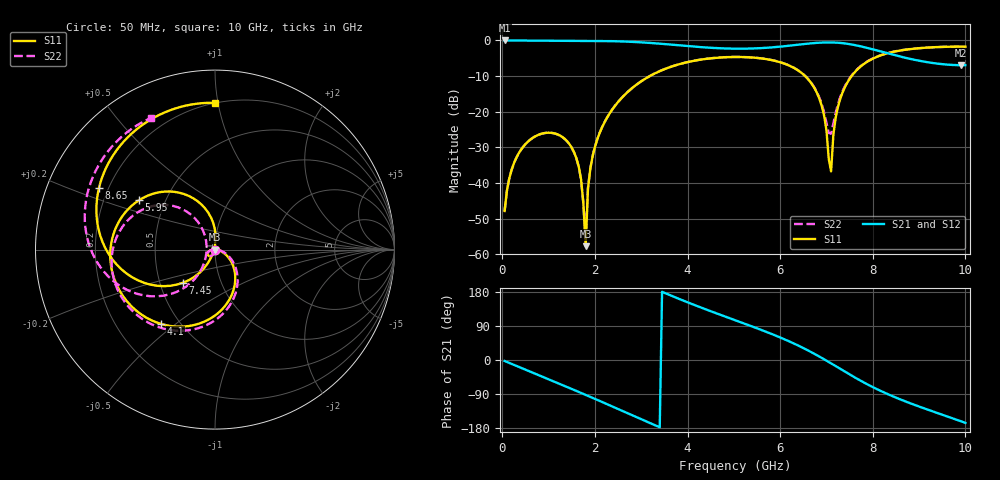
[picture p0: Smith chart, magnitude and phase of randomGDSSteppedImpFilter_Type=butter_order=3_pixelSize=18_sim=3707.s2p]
! freq	dB(S11)	phase(S11)	dB(S12)	phase(S12)
!  dB(S21)	phase(S21)	dB(S22)	phase(S22)
!S-par simulation data
#  GHz  S  DB  R 50
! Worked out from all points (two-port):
!   200 points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, 50 MHz to 10 GHz, reference 50 ohm
!   highest |S21| = 0.00 dB at 50 MHz (marker M1); lowest = -6.9 dB at 9.9 GHz (marker M2)
!   |S21| within 3 dB of the highest: start of sweep to 8.145 GHz
!   lowest |S11| = -57.8 dB at 1.8 GHz (marker M3), VSWR 1.00, Z = 50.1 - j0.0446 ohm
!   |S11| at or under -10 dB: start of sweep to 3.187 GHz; 6.538 GHz to 7.544 GHz (1.005 GHz wide, 14.3 % of centre)
!   |S22| runs from -55.6 to -1.8 dB; largest |S21 - S12| = 0
!   S11 on the Smith chart (normalised r, x): 50 MHz: 1.00, -0.01; 4.1 GHz: 0.40, -0.44; 5.95 GHz: 0.35, +0.26; 7.45 GHz: 0.66, -0.26; 8.65 GHz: 0.16, +0.24; 10 GHz: 0.20, +0.98
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0.05  -47.88 -88.4  -0.00 -2.6  -0.00 -2.6  -47.88 -88.4
0.35  -31.80 -107.6  -0.03 -17.9  -0.03 -17.9  -31.80 -107.2
0.95  -25.94 -139.5  -0.07 -48.4  -0.07 -48.4  -25.95 -138.6
1.5  -30.11 -167.9  -0.09 -76.5  -0.09 -76.5  -30.15 -167.2
1.75  -45.53 -178.2  -0.11 -89.4  -0.11 -89.4  -45.79 172.3
1.8  -57.76 -20.1  -0.11 -92.1  -0.11 -92.1  -55.63 28.1
1.85  -41.67 -8.9  -0.11 -94.7  -0.11 -94.7  -41.41 0.8
1.9  -36.09 -10.6  -0.12 -97.3  -0.12 -97.3  -35.95 -4.0
2.1  -26.05 -20.6  -0.14 -107.9  -0.14 -107.9  -26.00 -16.2
3.4  -8.62 -90.7  -0.90 -177.5  -0.90 -177.5  -8.61 -85.3
4.1  -5.81 -126.2  -1.68 147.5  -1.68 147.5  -5.79 -119.3
5.05  -4.64 -170.2  -2.31 104.0  -2.31 104.0  -4.62 -160.8
5.95  -5.93 147.1  -1.81 62.1  -1.81 62.1  -5.91 160.0
6.7  -12.53 103.5  -0.77 18.9  -0.77 18.9  -12.44 124.7
6.95  -21.16 88.3  -0.57 1.9  -0.57 1.9  -20.27 125.7
7.1  -36.77 -129.8  -0.56 -8.9  -0.56 -8.9  -26.17 -164.6
7.2  -21.60 -117.6  -0.61 -16.2  -0.61 -16.2  -20.25 -128.8
7.45  -11.85 -133.9  -0.94 -34.5  -0.94 -34.5  -11.63 -128.0
8.35  -3.49 167.8  -3.72 -91.5  -3.72 -91.5  -3.45 -176.2
8.65  -2.71 152.0  -4.71 -106.7  -4.71 -106.7  -2.68 169.9
9.9  -1.73 94.7  -6.95 -161.4  -6.95 -161.4  -1.75 119.7
10  -1.75 90.2  -6.94 -165.9  -6.94 -165.9  -1.77 115.8
